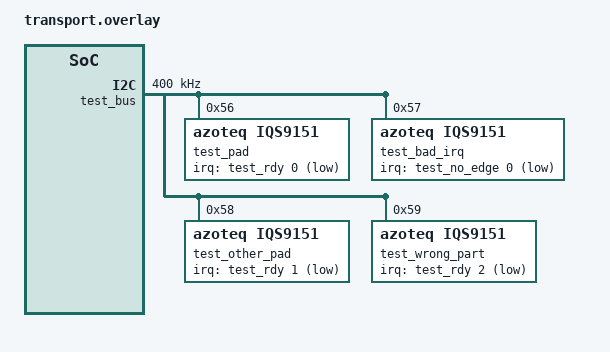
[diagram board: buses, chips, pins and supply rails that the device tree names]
#include <zephyr/dt-bindings/gpio/gpio.h>

/ {
    test_rdy: gpio@200 {
        compatible = "zephyr,gpio-emul";
        reg = <0x200 0x10>;
        gpio-controller;
        #gpio-cells = <2>;
        falling-edge;
    };
    test_no_edge: gpio@220 {
        compatible = "zephyr,gpio-emul";
        reg = <0x220 0x10>;
        gpio-controller;
        #gpio-cells = <2>;
        rising-edge;
    };
    test_bus: i2c@240 {
        compatible = "zephyr,i2c-emul-controller";
        reg = <0x240 0x10>;
        clock-frequency = <400000>;
        #address-cells = <1>;
        #size-cells = <0>;
        test_pad: touchpad@56 {
            compatible = "azoteq,iqs9151";
            reg = <0x56>;
            irq-gpios = <&test_rdy 0 GPIO_ACTIVE_LOW>;
        };
        test_bad_irq: touchpad@57 {
            compatible = "azoteq,iqs9151";
            reg = <0x57>;
            irq-gpios = <&test_no_edge 0 GPIO_ACTIVE_LOW>;
        };
        test_other_pad: touchpad@58 {
            compatible = "azoteq,iqs9151";
            reg = <0x58>;
            irq-gpios = <&test_rdy 1 GPIO_ACTIVE_LOW>;
        };
        test_wrong_part: touchpad@59 {
            compatible = "azoteq,iqs9151";
            reg = <0x59>;
            irq-gpios = <&test_rdy 2 GPIO_ACTIVE_LOW>;
        };
    };
};
